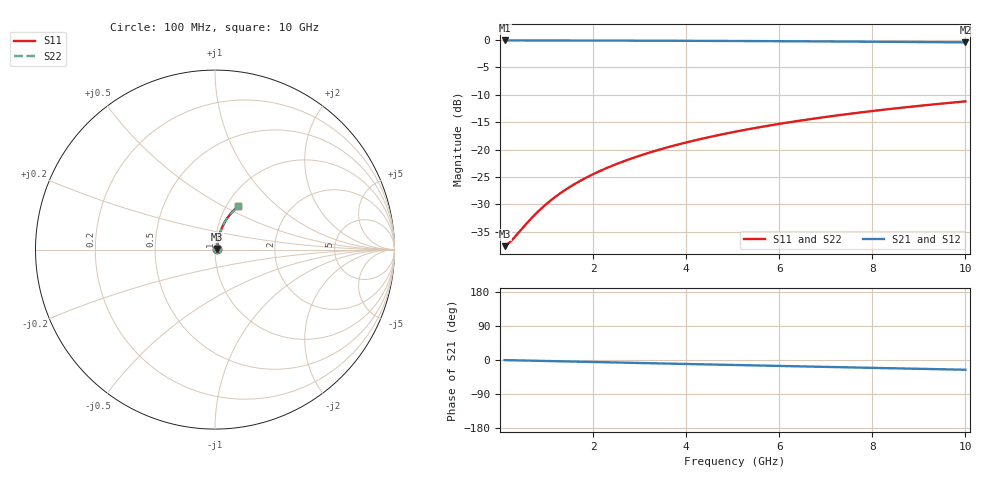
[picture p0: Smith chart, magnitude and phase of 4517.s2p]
# Hz S RI R 50.00
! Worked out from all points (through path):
!   100 points, 100 MHz to 10 GHz, reference 50 ohm
!   highest |S21| = -0.11 dB at 100 MHz (marker M1); lowest = -0.5 dB at 10 GHz (marker M2)
!   group delay of S21, straight-line fit = 7.15 ps
!   lowest |S11| = -37.6 dB at 100 MHz (marker M3), VSWR 1.03, Z = 51.3 + j0.292 ohm
!   |S11| at or under -10 dB: start of sweep to end of sweep
!   |S22| runs from -37.6 to -11.2 dB; largest |S21 - S12| = 0
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1e8  0.0128 0.00285  0.9872 -0.00453  0.9872 -0.00453  0.0128 0.00285
2e8  0.013 0.0057  0.987 -0.00907  0.987 -0.00907  0.013 0.0057
3e8  0.0131 0.00855  0.9869 -0.0136  0.9869 -0.0136  0.0131 0.00855
7e8  0.0138 0.0199  0.9861 -0.0317  0.9861 -0.0317  0.0138 0.0199
8e8  0.014 0.0228  0.9859 -0.0362  0.9859 -0.0362  0.014 0.0228
1e9  0.0145 0.0284  0.9853 -0.0453  0.9853 -0.0453  0.0145 0.0284
1.2e9  0.0152 0.0341  0.9846 -0.0543  0.9846 -0.0543  0.0152 0.0341
1.4e9  0.0159 0.0397  0.9838 -0.0633  0.9838 -0.0633  0.0159 0.0397
1.6e9  0.0167 0.0454  0.9829 -0.0723  0.9829 -0.0723  0.0167 0.0454
1.8e9  0.0176 0.051  0.9819 -0.0813  0.9819 -0.0813  0.0176 0.051
2.1e9  0.0192 0.0593  0.9802 -0.0947  0.9802 -0.0947  0.0192 0.0593
2.5e9  0.0216 0.0704  0.9774 -0.1125  0.9774 -0.1125  0.0216 0.0704
2.9e9  0.0245 0.0814  0.9743 -0.1302  0.9743 -0.1302  0.0245 0.0814
3.4e9  0.0285 0.0949  0.9697 -0.1522  0.9697 -0.1522  0.0285 0.0949
3.8e9  0.0322 0.1055  0.9656 -0.1696  0.9656 -0.1696  0.0322 0.1055
4.2e9  0.0363 0.116  0.9611 -0.1869  0.9611 -0.1869  0.0363 0.116
5.1e9  0.0468 0.1389  0.9494 -0.225  0.9494 -0.225  0.0468 0.1389
5.9e9  0.0576 0.1584  0.9373 -0.258  0.9373 -0.258  0.0576 0.1584
6.7e9  0.0697 0.1769  0.9237 -0.2902  0.9237 -0.2902  0.0697 0.1769
7.5e9  0.083 0.1944  0.9088 -0.3213  0.9088 -0.3213  0.083 0.1944
8.4e9  0.0992 0.2127  0.8905 -0.3549  0.8905 -0.3549  0.0992 0.2127
1e10  0.1309 0.2415  0.8543 -0.4112  0.8543 -0.4112  0.1309 0.2415
